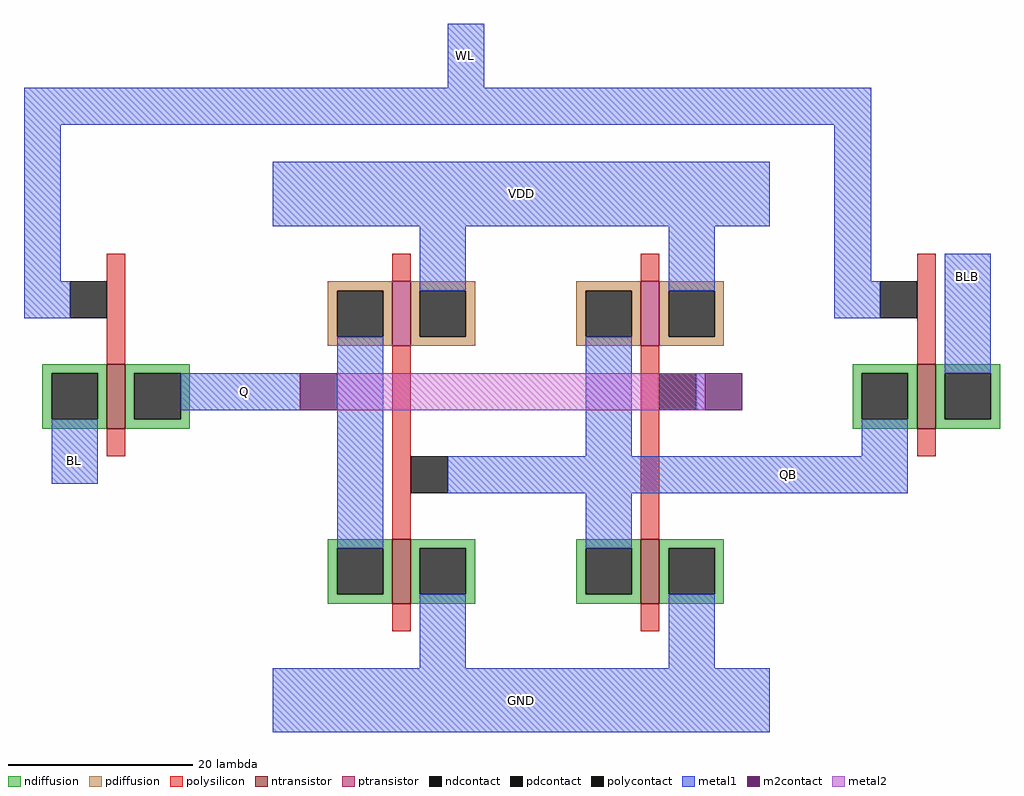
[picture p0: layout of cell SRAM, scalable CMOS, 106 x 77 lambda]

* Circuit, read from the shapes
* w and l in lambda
.subckt SRAM BL BLB GND Q QB VDD WL
M1 Q WL BL VSUBS nfet w=7 l=2
M2 GND QB Q VSUBS nfet w=7 l=2
M3 GND Q QB VSUBS nfet w=7 l=2
M4 BLB WL QB VSUBS nfet w=7 l=2
M5 VDD QB Q NWELL pfet w=7 l=2
M6 VDD Q QB NWELL pfet w=7 l=2
.ends

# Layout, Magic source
magic
tech scmos
<< polysilicon >>
rect -38 6 -36 18
rect -7 15 -5 18
rect 20 15 22 18
rect -38 -4 -36 -1
rect -7 -13 -5 8
rect 20 -13 22 8
rect 50 6 52 18
rect 50 -4 52 -1
rect -7 -23 -5 -20
rect 20 -23 22 -20
<< ndiffusion >>
rect -45 5 -38 6
rect -45 0 -44 5
rect -39 0 -38 5
rect -45 -1 -38 0
rect -36 5 -29 6
rect -36 0 -35 5
rect -30 0 -29 5
rect -36 -1 -29 0
rect 43 5 50 6
rect 43 0 44 5
rect 49 0 50 5
rect 43 -1 50 0
rect 52 5 59 6
rect 52 0 53 5
rect 58 0 59 5
rect 52 -1 59 0
rect -14 -14 -7 -13
rect -14 -19 -13 -14
rect -8 -19 -7 -14
rect -14 -20 -7 -19
rect -5 -14 2 -13
rect -5 -19 -4 -14
rect 1 -19 2 -14
rect -5 -20 2 -19
rect 13 -14 20 -13
rect 13 -19 14 -14
rect 19 -19 20 -14
rect 13 -20 20 -19
rect 22 -14 29 -13
rect 22 -19 23 -14
rect 28 -19 29 -14
rect 22 -20 29 -19
<< pdiffusion >>
rect -14 14 -7 15
rect -14 9 -13 14
rect -8 9 -7 14
rect -14 8 -7 9
rect -5 14 2 15
rect -5 9 -4 14
rect 1 9 2 14
rect -5 8 2 9
rect 13 14 20 15
rect 13 9 14 14
rect 19 9 20 14
rect 13 8 20 9
rect 22 14 29 15
rect 22 9 23 14
rect 28 9 29 14
rect 22 8 29 9
<< metal1 >>
rect -1 36 3 43
rect -47 32 45 36
rect -47 15 -43 32
rect -20 21 34 28
rect -47 11 -42 15
rect -4 14 1 21
rect 23 14 28 21
rect 41 15 45 32
rect 41 11 46 15
rect -30 1 -17 5
rect -44 -7 -39 0
rect -13 -14 -8 9
rect 14 -4 19 9
rect 53 5 58 18
rect 26 1 27 5
rect 44 -4 49 0
rect -1 -8 49 -4
rect 14 -14 19 -8
rect -4 -27 1 -19
rect 23 -27 28 -19
rect -20 -34 34 -27
<< metal2 >>
rect -13 1 27 5
<< ntransistor >>
rect -38 -1 -36 6
rect 50 -1 52 6
rect -7 -20 -5 -13
rect 20 -20 22 -13
<< ptransistor >>
rect -7 8 -5 15
rect 20 8 22 15
<< polycontact >>
rect -42 11 -38 15
rect 46 11 50 15
rect -5 -8 -1 -4
rect 22 1 26 5
<< ndcontact >>
rect -44 0 -39 5
rect -35 0 -30 5
rect 44 0 49 5
rect 53 0 58 5
rect -13 -19 -8 -14
rect -4 -19 1 -14
rect 14 -19 19 -14
rect 23 -19 28 -14
<< pdcontact >>
rect -13 9 -8 14
rect -4 9 1 14
rect 14 9 19 14
rect 23 9 28 14
<< m2contact >>
rect -17 1 -13 5
rect 27 1 31 5
<< labels >>
rlabel metal1 -20 21 34 28 1 VDD
rlabel metal1 -20 -34 34 -27 1 GND
rlabel metal1 -1 36 3 43 5 WL
rlabel metal1 -29 1 -17 5 1 Q
rlabel metal1 30 -8 42 -4 1 QB
rlabel metal1 -44 -7 -39 -2 1 BL
rlabel metal1 53 13 58 18 7 BLB
<< end >>
